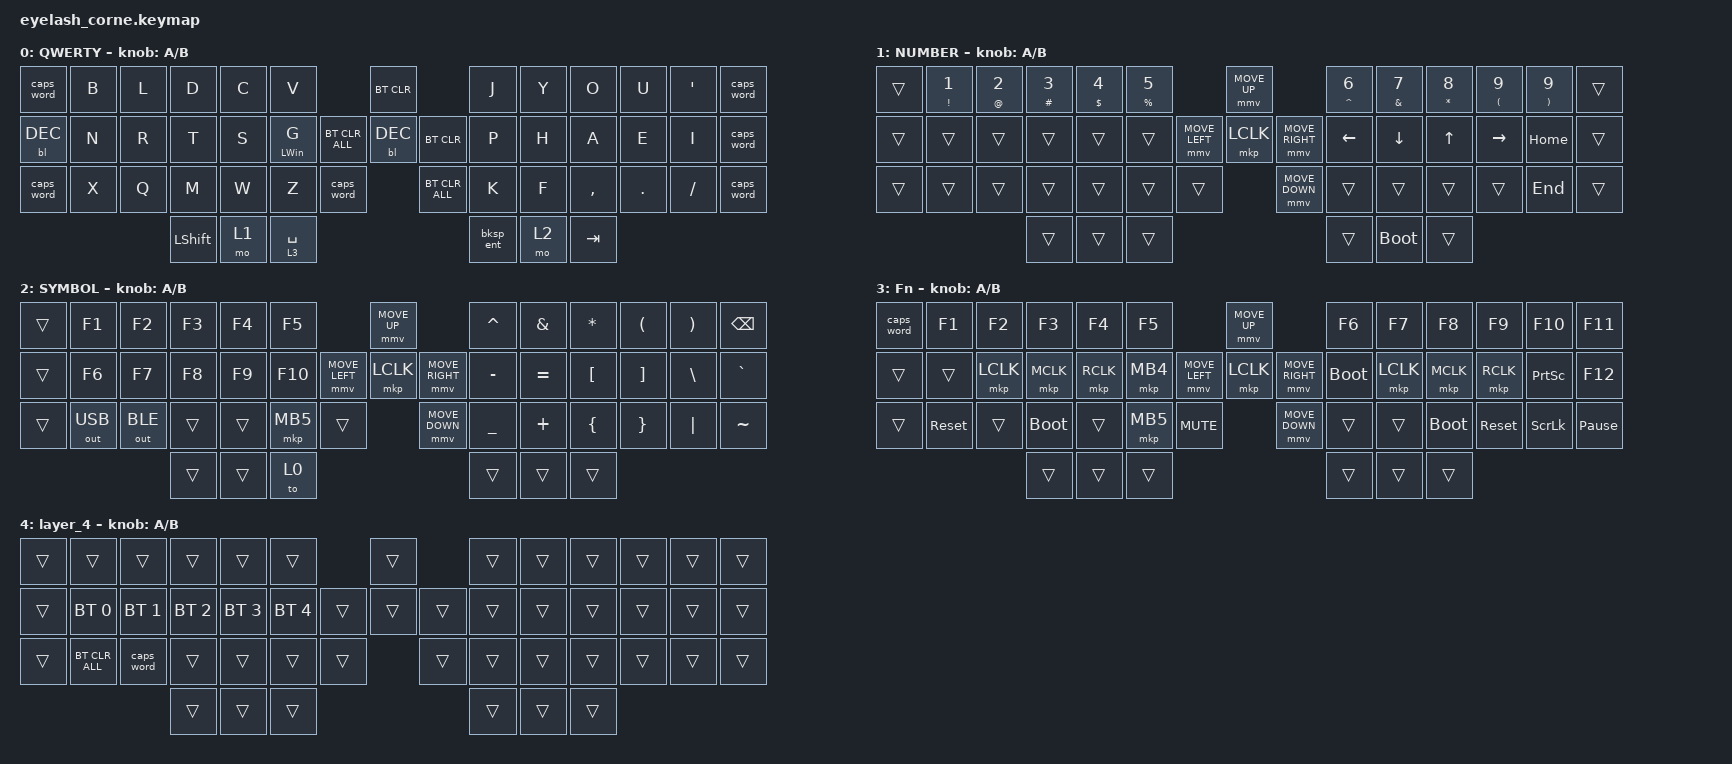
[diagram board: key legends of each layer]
#define ZMK_POINTING_DEFAULT_MOVE_VAL 1200  // 600
#define ZMK_POINTING_DEFAULT_SCRL_VAL 25   // 10

#include <input/processors.dtsi>
#include <zephyr/dt-bindings/input/input-event-codes.h>
#include <behaviors.dtsi>
#include <dt-bindings/zmk/backlight.h>
#include <dt-bindings/zmk/bt.h>
#include <dt-bindings/zmk/keys.h>
#include <dt-bindings/zmk/outputs.h>
#include <dt-bindings/zmk/pointing.h>

&mmv_input_listener { input-processors = <&zip_xy_scaler 2 1>; };

&msc_input_listener { input-processors = <&zip_scroll_scaler 2 1>; };

&msc {
    acceleration-exponent = <1>;      // 0
    time-to-max-speed-ms = <100>;       // 300
    delay-ms = <0>;                   // 0
};

&mmv {
    time-to-max-speed-ms = <500>;
    acceleration-exponent = <1>;
    trigger-period-ms = <16>;
};

&soft_off { hold-time-ms = <2000>; };

/ {
    behaviors {
        td0: td0 {
            compatible = "zmk,behavior-tap-dance";
            display-name = "Shift/Caps Lock Tap Dance";
            #binding-cells = <0>;
            bindings = <&kp LEFT_SHIFT>, <&kp CAPS>;
        };

        mo_lt: mo_lt {
            compatible = "zmk,behavior-hold-tap";
            label = "MO_LT";
            bindings = <&mo>, <&kp>;

            #binding-cells = <2>;
            flavor = "tap-preferred";
            tapping-term-ms = <200>;
        };

        bksp_ent: bksp_ent {
            compatible = "zmk,behavior-mod-morph";
            label = "BKSP_ENT";
            bindings = <&kp BACKSPACE>, <&kp RET>;

            #binding-cells = <0>;
            mods = <(MOD_LSFT)>;
        };

        HML: HML {
            compatible = "zmk,behavior-hold-tap";
            label = "HML";
            bindings = <&kp>, <&kp>;

            #binding-cells = <2>;
            tapping-term-ms = <200>;
            flavor = "tap-preferred";
            hold-trigger-key-positions = <7 8 9 10 11 12 22 23 24 25 26 27 36 37 38 39 40 41>;
        };

        HMR: HMR {
            compatible = "zmk,behavior-hold-tap";
            label = "HMR";
            bindings = <&kp>, <&kp>;

            #binding-cells = <2>;
            tapping-term-ms = <200>;
            hold-trigger-key-positions = <0 1 2 4 5 13 14 15 16 17 18 28 29 30 31 32 33 3>;
            flavor = "tap-preferred";
        };

        StickyHomeRowMod: StickyHomeRowMod {
            compatible = "zmk,behavior-hold-tap";
            label = "STICKYHOMEROWMOD";
            bindings = <&sk>, <&kp>;

            #binding-cells = <2>;
            tapping-term-ms = <200>;
            flavor = "tap-preferred";
        };
    };

    combos { compatible = "zmk,combos"; };

    keymap {
        compatible = "zmk,keymap";

        default_layer {
            display-name = "QWERTY";
            bindings = <
&caps_word  &kp B  &kp L  &kp D           &kp C  &kp V                                                       &bt BT_CLR                  &kp J      &kp Y  &kp O      &kp U    &kp SQT   &caps_word
&bl BL_DEC  &kp N  &kp R  &kp T           &kp S  &StickyHomeRowMod LEFT_WIN G                &bt BT_CLR_ALL  &bl BL_DEC      &bt BT_CLR  &kp P      &kp H  &kp A      &kp E    &kp I     &caps_word
&caps_word  &kp X  &kp Q  &kp M           &kp W  &kp Z                         &caps_word                    &bt BT_CLR_ALL              &kp K      &kp F  &kp COMMA  &kp DOT  &kp FSLH  &caps_word
                          &kp LEFT_SHIFT  &mo 1  &mo_lt 3 SPACE                                                                          &bksp_ent  &mo 2  &kp TAB
            >;

            sensor-bindings = <&inc_dec_kp A B>;
        };

        lower_layer {
            display-name = "NUMBER";
            bindings = <
&trans  &mt EXCL NUMBER_1  &mt AT_SIGN NUMBER_2  &mt HASH NUMBER_3  &mt DOLLAR NUMBER_4  &mt PERCENT N5                            &mmv MOVE_UP                     &mt CARET NUMBER_6  &mt AMPERSAND N7  &mt ASTERISK N8  &mt LEFT_PARENTHESIS N9  &mt RIGHT_PARENTHESIS N9  &trans
&trans  &trans             &trans                &trans             &trans               &trans                    &mmv MOVE_LEFT  &mkp LCLK       &mmv MOVE_RIGHT  &kp LEFT            &kp DOWN          &kp UP           &kp RIGHT                &kp HOME                  &trans
&trans  &trans             &trans                &trans             &trans               &trans          &trans                    &mmv MOVE_DOWN                   &trans              &trans            &trans           &trans                   &kp END                   &trans
                                                 &trans             &trans               &trans                                                                     &trans              &bootloader       &trans
            >;

            sensor-bindings = <&inc_dec_kp A B>;
        };

        raise_layer {
            display-name = "SYMBOL";
            bindings = <
&trans  &kp F1        &kp F2        &kp F3  &kp F4  &kp F5                              &mmv MOVE_UP                     &kp CARET  &kp AMPS   &kp ASTRK  &kp LPAR  &kp RPAR  &kp BSPC
&trans  &kp F6        &kp F7        &kp F8  &kp F9  &kp F10             &mmv MOVE_LEFT  &mkp LCLK       &mmv MOVE_RIGHT  &kp MINUS  &kp EQUAL  &kp LBKT   &kp RBKT  &kp BSLH  &kp GRAVE
&trans  &out OUT_USB  &out OUT_BLE  &trans  &trans  &mkp MB5  &trans                    &mmv MOVE_DOWN                   &kp UNDER  &kp PLUS   &kp LBRC   &kp RBRC  &kp PIPE  &kp TILDE
                                    &trans  &trans  &to 0                                                                &trans     &trans     &trans
            >;

            sensor-bindings = <&inc_dec_kp A B>;
        };

        layer_3 {
            display-name = "Fn";
            bindings = <
&caps_word  &kp F1      &kp F2     &kp F3       &kp F4     &kp F5                                  &mmv MOVE_UP                     &kp F6       &kp F7     &kp F8       &kp F9      &kp F10          &kp F11
&trans      &trans      &mkp LCLK  &mkp MCLK    &mkp RCLK  &mkp MB4                &mmv MOVE_LEFT  &mkp LCLK       &mmv MOVE_RIGHT  &bootloader  &mkp LCLK  &mkp MCLK    &mkp RCLK   &kp PRINTSCREEN  &kp F12
&trans      &sys_reset  &trans     &bootloader  &trans     &mkp MB5  &kp C_MUTE                    &mmv MOVE_DOWN                   &trans       &trans     &bootloader  &sys_reset  &kp SCROLLLOCK   &kp PAUSE_BREAK
                                   &trans       &trans     &trans                                                                   &trans       &trans     &trans
            >;

            sensor-bindings = <&inc_dec_kp A B>;
        };

        layer_4 {
            bindings = <
&trans  &trans          &trans        &trans        &trans        &trans                          &trans          &trans  &trans  &trans  &trans  &trans  &trans
&trans  &bt BT_SEL 0    &bt BT_SEL 1  &bt BT_SEL 2  &bt BT_SEL 3  &bt BT_SEL 4            &trans  &trans  &trans  &trans  &trans  &trans  &trans  &trans  &trans
&trans  &bt BT_CLR_ALL  &caps_word    &trans        &trans        &trans        &trans            &trans          &trans  &trans  &trans  &trans  &trans  &trans
                                      &trans        &trans        &trans                                          &trans  &trans  &trans
            >;

            sensor-bindings = <&inc_dec_kp A B>;
        };
    };
};
